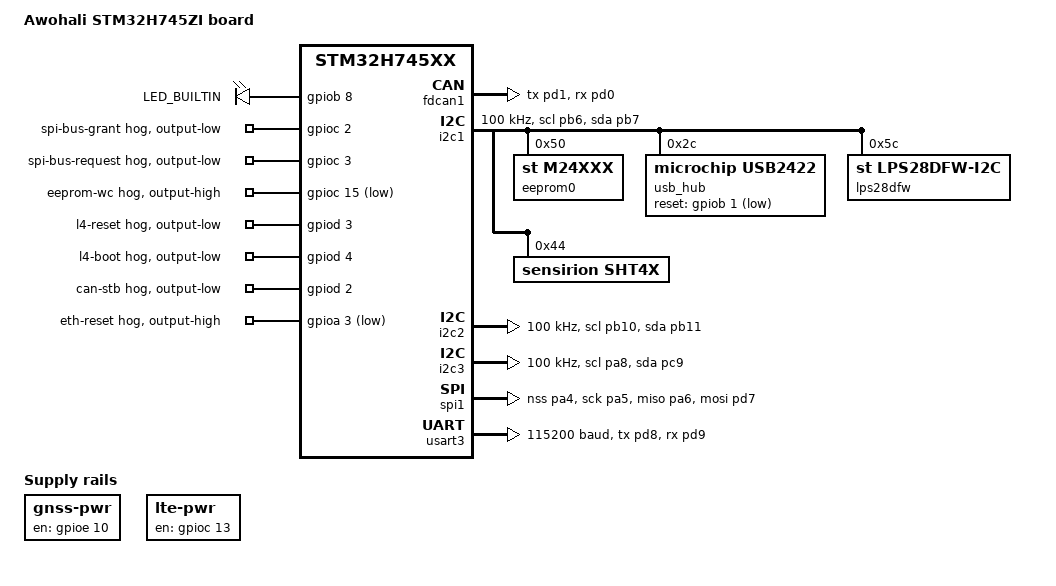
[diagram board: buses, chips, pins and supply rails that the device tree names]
/*
 * Copyright (c) 2026 Madison Gleydura <deepspace00@pm.me>
 *
 * SPDX-License-Identifier: Apache-2.0
 */

/dts-v1/;
#include <st/h7/stm32h745Xi_m4.dtsi>
#include "awohali_h745.dtsi"

/ {
	model = "Awohali STM32H745ZI board";
	compatible = "st,stm32h745xx";

	/* HW resources belonging to CM4 */
	chosen {
		zephyr,sram = &sram1;
		zephyr,flash = &flash1;
	};

	aliases {
		led0 = &led0;
		can0 = &fdcan1;
		eeprom0 = &eeprom_0;
	};

	leds {
		compatible = "gpio-leds";
		status = "okay";
		led0: led_0 {
			gpios = <&gpiob 8 GPIO_ACTIVE_HIGH>;
			label = "LED_BUILTIN";
		};
	};

	gnss-load-switch {
		compatible = "regulator-fixed";
		enable-gpios = <&gpioe 10 GPIO_ACTIVE_HIGH>;
		regulator-name = "gnss-pwr";
		status = "okay";
	};

	lte-load-switch {
		compatible = "regulator-fixed";
		enable-gpios = <&gpioc 13 GPIO_ACTIVE_HIGH>;
		regulator-name = "lte-pwr";
		status = "okay";
	};
};

&fdcan1 {
	pinctrl-0 = <&fdcan1_tx_pd1 &fdcan1_rx_pd0>;
	pinctrl-names = "default";
	clocks = <&rcc STM32_CLOCK(APB1_2, 8)>,
		<&rcc STM32_SRC_HSE FDCAN_SEL(1)>;
	status = "okay";

	can-transceiver {
		max-bitrate = <5000000>;
	};
};

&i2c1 {
	pinctrl-0 = <&i2c1_scl_pb6 &i2c1_sda_pb7>;
	pinctrl-names = "default";
	clock-frequency = <100000>;
	status = "okay";

	eeprom0: eeprom@50 {
		compatible = "st,m24xxx", "atmel,at24";
		reg = <0x50>;
		size = <DT_SIZE_K(64)>;
		pagesize = <128>;
		address-width = <16>;
		timeout = <5>;
		status = "okay";
	};

	usb_hub: usb2422@2c {
		compatible = "microchip,usb2422";
		reg = <0x2C>;
		reset-gpios = <&gpiob 1 GPIO_ACTIVE_LOW>;

		max-current-ma = <500>;
		self-powered;
		status = "okay";
	};

	lps28dfw@5c {
		compatible = "st,lps28dfw-i2c";
		reg = <0x5C>;
		status = "okay";
	};

	sht4x@44 {
		compatible = "sensirion,sht4x";
		reg = <0x44>;
		repeatability = <2>;
		status = "okay";
	};
};

&i2c2 {
	pinctrl-0 = <&i2c2_scl_pb10 &i2c2_sda_pb11>;
	pinctrl-names = "default";
	clock-frequency = <100000>;
	status = "okay";
};

&i2c3 {
	pinctrl-0 = <&i2c3_scl_pa8 &i2c3_sda_pc9>;
	pinctrl-names = "default";
	clock-frequency = <100000>;
	status = "okay";
};

&spi1 {
	pinctrl-0 = <&spi1_nss_pa4 &spi1_sck_pa5 &spi1_miso_pa6 &spi1_mosi_pd7>;
	pinctrl-names = "default";
	status = "okay";
};

&usart3 {
	pinctrl-0 = <&usart3_tx_pd8 &usart3_rx_pd9>;
	pinctrl-names = "default";
	current-speed = <115200>;
	status = "okay";
};

&rcc {
	clock-frequency = <DT_FREQ_M(64)>;
};

&gpioc {
	gpio-hog-grant {
		gpio-hog;
		gpios = <2 GPIO_ACTIVE_HIGH>;
		output-low;
		line-name = "spi-bus-grant";
	};

	gpio-hog-request {
		gpio-hog;
		gpios = <3 GPIO_ACTIVE_HIGH>;
		output-low;
		line-name = "spi-bus-request";
	};
};

&gpiod {
	gpio-hog-l4-reset {
		gpio-hog;
		gpios = <3 GPIO_ACTIVE_HIGH>;
		output-low;
		line-name = "l4-reset";
	};

	gpio-hog-l4-boot {
		gpio-hog;
		gpios = <4 GPIO_ACTIVE_HIGH>;
		output-low;
		line-name = "l4-boot";
	};

	gpio-hog-can-stb {
		gpio-hog;
		gpios = <2 GPIO_ACTIVE_HIGH>;
		output-low;
		line-name = "can-stb";
	};
};

&gpioa {
	gpio-hog-eth-reset {
		gpio-hog;
		gpios = <3 GPIO_ACTIVE_LOW>;
		output-high;
		line-name = "eth-reset";
	};
};

&gpioc {
	gpio-hog-eeprom-wc {
		gpio-hog;
		gpios = <15 (GPIO_PULL_UP | GPIO_ACTIVE_LOW)>;
		output-high;
		line-name = "eeprom-wc";
	};
};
